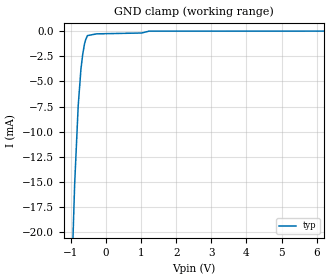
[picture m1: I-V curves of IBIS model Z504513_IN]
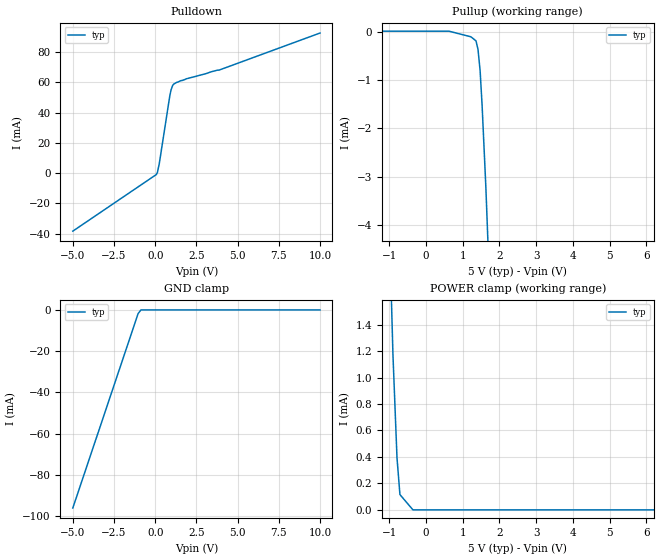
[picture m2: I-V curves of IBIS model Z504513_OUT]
| YOU ARE ONLY AUTHORIZED TO USE THIS SOFTWARE
| ACCORDING TO LICENSOR'S LICENSE RESTRICTIONS.
[IBIS Ver] 3.1
[File Name] sn74ls123j.ibs
[File Rev] 2.0
[Source] Measured and created by ICX Technology
[Date] Friday 7/14/00 9:08:16 AM
[Copyright]
| (C) COPYRIGHT 1993-2000
| MENTOR GRAPHICS CORPORATION
| ICX STANDARD LIBRARY, ICX PROJECT MODELING,
| ICX CUSTOM MODELING, ICX VENDOR MODEL
| ALL RIGHTS RESERVED.
| THE FOLLOWING ARE TRADEMARKS OR SERVICE MARKS OF
| MENTOR GRAPHICS CORPORATION:ICX (R), ICX STANDARD
| LIBRARY(R), ICX PROJECT MODELING(R), ICX CUSTOM
| MODELING(R), qualityIBIS(TM), MODELVIEWER(TM),
| AND MODELEDITOR(TM)
| ALL COPIES OF SOFTWARE, INCLUDING BUT NOT LIMITED TO
| ANY MODIFICATIONS, ENHANCEMENTS OR DERIVATIVE WORKS,
| MUST CONTAIN ALL MENTOR GRAPHICS CORPORATION'S
| NOTICES AND LEGENDS, INCLUDING THOSE EMBEDDED IN
| SOFTWARE AND THOSE AFFIXED TO SOFTWARE MEDIUM
| AND CONTAINER, AS RECEIVED FROM MENTOR GRAPHICS
| CORPORATION.
|  ZAP Model Builder 2.7
[Component] SN74LS123J
[Manufacturer] OnSemiconductor
[Package]
| variable   typ   min   max
R_pkg  .212ohms NA NA
L_pkg  4.758nH NA NA
C_pkg  1.944pF NA NA
[Pin] signal_name  model_name  R_pin  L_pin C_pin
1 A Z504513_IN .224 7.258n 2.683p
2 B Z504513_IN .216 5.258n 2.19p
3 _CLR Z504513_IN .208 3.758n 1.697p
4 _Q Z504513_OUT .2 2.758n 1.204p
5 Q Z504513_OUT .2 2.758n 1.204p
6 C_EXT NC .208 3.758n 1.697p
7 R_EXT_C_EXT NC .216 5.258n 2.19p
8 GROUND GND .224 7.258n 2.683p
9 A Z504513_IN .224 7.258n 2.683p
10 B Z504513_IN .216 5.258n 2.19p
11 _CLR Z504513_IN .208 3.758n 1.697p
12 _Q Z504513_OUT .2 2.758n 1.204p
13 Q Z504513_OUT .2 2.758n 1.204p
14 C_EXT NC .208 3.758n 1.697p
15 R_EXT_C_EXT NC .216 5.258n 2.19p
16 VCC POWER .224 7.258n 2.683p
| Models and submodels in the file (2): Z504513_IN (Input), Z504513_OUT (Output)
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| (C) COPYRIGHT 1993-2000
| MENTOR GRAPHICS CORPORATION
| ICX STANDARD LIBRARY, ICX PROJECT MODELING,
| ICX CUSTOM MODELING, ICX VENDOR MODEL
| ALL RIGHTS RESERVED.
| THE FOLLOWING ARE TRADEMARKS OR SERVICE MARKS OF
| MENTOR GRAPHICS CORPORATION:ICX (R), ICX STANDARD
| LIBRARY(R), ICX PROJECT MODELING(R), ICX CUSTOM
| MODELING(R), qualityIBIS(TM), MODELVIEWER(TM),
| AND MODELEDITOR(TM)
| ALL COPIES OF SOFTWARE, INCLUDING BUT NOT LIMITED TO
| ANY MODIFICATIONS, ENHANCEMENTS OR DERIVATIVE WORKS,
| MUST CONTAIN ALL MENTOR GRAPHICS CORPORATION'S
| NOTICES AND LEGENDS, INCLUDING THOSE EMBEDDED IN
| SOFTWARE AND THOSE AFFIXED TO SOFTWARE MEDIUM
| AND CONTAINER, AS RECEIVED FROM MENTOR GRAPHICS
| CORPORATION.
| Model Application Version 1.89 2/18/99.
[Model] Z504513_IN
Model_type Input
Vinl = 800.0mV
Vinh = 2.000V
C_comp 4.000pF NA NA
| variable typ   min   max
[Voltage Range] 5.000V NA NA
[GND Clamp Reference] 0.000V NA NA
[POWER Clamp Reference] 5.000V NA NA
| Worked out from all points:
|   GND clamp passes 1 mA (typ) near -0.59 V on its own axis
[GND Clamp]
-5V       -476.2mA   NA         NA
-891.5mV  -15.22mA   NA         NA
-791mV    -7.433mA   NA         NA
-712.2mV  -3.744mA   NA         NA
-662.8mV  -2.317mA   NA         NA
-614.8mV  -1.328mA   NA         NA
-580.8mV  -863.6uA   NA         NA
-527.1mV  -436uA     NA         NA
-263.6mV  -259.5uA   NA         NA
1.011V    -177uA     NA         NA
1.229V    9.183uA    NA         NA
10V       15.42uA    NA         NA
[POWER Clamp]
-5V       0A         NA         NA
10V       0A         NA         NA
| (C) COPYRIGHT 1993-2000
| MENTOR GRAPHICS CORPORATION
| ICX STANDARD LIBRARY, ICX PROJECT MODELING,
| ICX CUSTOM MODELING, ICX VENDOR MODEL
| ALL RIGHTS RESERVED.
| THE FOLLOWING ARE TRADEMARKS OR SERVICE MARKS OF
| MENTOR GRAPHICS CORPORATION:ICX (R), ICX STANDARD
| LIBRARY(R), ICX PROJECT MODELING(R), ICX CUSTOM
| MODELING(R), qualityIBIS(TM), MODELVIEWER(TM),
| AND MODELEDITOR(TM)
| ALL COPIES OF SOFTWARE, INCLUDING BUT NOT LIMITED TO
| ANY MODIFICATIONS, ENHANCEMENTS OR DERIVATIVE WORKS,
| MUST CONTAIN ALL MENTOR GRAPHICS CORPORATION'S
| NOTICES AND LEGENDS, INCLUDING THOSE EMBEDDED IN
| SOFTWARE AND THOSE AFFIXED TO SOFTWARE MEDIUM
| AND CONTAINER, AS RECEIVED FROM MENTOR GRAPHICS
| CORPORATION.
| Model Application Version 1.89 2/18/99.
[Model] Z504513_OUT
Model_type Output
Vref=5.000V
Rref=2.000kohms
Cref=15.00pF
Vmeas=1.300V
C_comp 8.000pF NA NA
| variable typ   min   max
[Voltage Range] 5.000V NA NA
[POWER Clamp Reference] 5.000V NA NA
[Pullup Reference] 5.000V NA NA
[Pulldown Reference] 0.000V NA NA
[GND Clamp Reference] 0.000V NA NA
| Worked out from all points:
|   slope of the pulldown table from 0 to 0.75 V, typ, clamps not added: 17.5 ohm
|   slope of the pullup table from 0 to 0.75 V, typ, clamps not added: 30.9 kohm
|   GND clamp passes 1 mA (typ) near -0.96 V on its own axis
|   POWER clamp passes 1 mA (typ) near -0.87 V on its own axis
[GND Clamp]
-5V       -96.03mA   NA         NA
-1.035V   -1.739mA   NA         NA
-862.5mV  0A         NA         NA
10V       0A         NA         NA
[Pulldown]
-5V       -38.38mA   NA         NA
68.97mV   -973.9uA   NA         NA
131.8mV   339.4uA    NA         NA
243.7mV   5.95mA     NA         NA
888.7mV   51.22mA    NA         NA
966.9mV   55.15mA    NA         NA
1.063V    58.01mA    NA         NA
1.143V    58.93mA    NA         NA
1.875V    62.23mA    NA         NA
3.885V    68.06mA    NA         NA
10V       92.52mA    NA         NA
[Pullup]
-5V       15.54uA    NA         NA
625mV     15.54uA    NA         NA
1.221V    -100.3uA   NA         NA
1.362V    -185uA     NA         NA
1.417V    -362.6uA   NA         NA
1.474V    -800.6uA   NA         NA
1.528V    -1.517mA   NA         NA
1.63V     -3.209mA   NA         NA
10V       -171.1mA   NA         NA
[POWER Clamp]
-5V       48.22mA    NA         NA
-1.045V   2.641mA    NA         NA
-898mV    1.173mA    NA         NA
-788mV    394.5uA    NA         NA
-708mV    115.5uA    NA         NA
-354mV    0A         NA         NA
10V       0A         NA         NA
[Ramp]
| variable typ min max
dV/dt_r 1.863/7.761n NA NA
dV/dt_f 1.863/3.107n NA NA
R_load = 500.0Ohms
